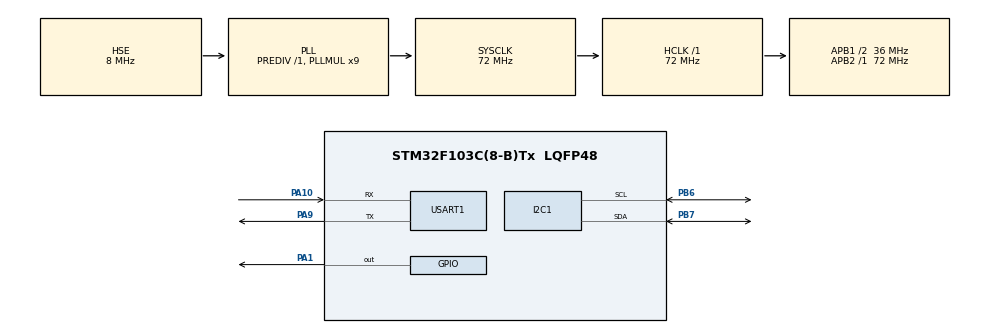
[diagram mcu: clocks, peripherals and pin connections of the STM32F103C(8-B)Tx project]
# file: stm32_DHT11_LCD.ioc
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Mcu.Family=STM32F1
Mcu.Name=STM32F103C(8-B)Tx
Mcu.Package=LQFP48
NVIC.PriorityGroup=NVIC_PRIORITYGROUP_4
PA1.Signal=GPIO_Output
PA10.Mode=Asynchronous
PA10.Signal=USART1_RX
PA13.Mode=Serial_Wire
PA13.Signal=SYS_JTMS-SWDIO
PA14.Mode=Serial_Wire
PA14.Signal=SYS_JTCK-SWCLK
PA9.Mode=Asynchronous
PA9.Signal=USART1_TX
PB6.Mode=I2C
PB6.Signal=I2C1_SCL
PB7.Mode=I2C
PB7.Signal=I2C1_SDA
PD0-OSC_IN.Mode=HSE-External-Oscillator
PD0-OSC_IN.Signal=RCC_OSC_IN
PD1-OSC_OUT.Mode=HSE-External-Oscillator
PD1-OSC_OUT.Signal=RCC_OSC_OUT
ProjectManager.HeapSize=0x200
ProjectManager.StackSize=0x400
ProjectManager.TargetToolchain=MDK-ARM V5.32
RCC.AHBFreq_Value=72000000
RCC.APB1CLKDivider=RCC_HCLK_DIV2
RCC.APB1Freq_Value=36000000
RCC.APB1TimFreq_Value=72000000
RCC.APB2Freq_Value=72000000
RCC.APB2TimFreq_Value=72000000
RCC.HCLKFreq_Value=72000000
RCC.PLLMUL=RCC_PLL_MUL9
RCC.PLLSourceVirtual=RCC_PLLSOURCE_HSE
RCC.SYSCLKFreq_VALUE=72000000
RCC.SYSCLKSource=RCC_SYSCLKSOURCE_PLLCLK
RCC.USBFreq_Value=72000000
TIM4.Period=0xffff-1
TIM4.Prescaler=72-1
USART1.VirtualMode=VM_ASYNC
VP_TIM4_VS_ClockSourceINT.Mode=Internal
board=custom

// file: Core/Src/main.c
/* USER CODE BEGIN Header */
/**
  ******************************************************************************
  * @file           : main.c
  * @brief          : Main program body
  ******************************************************************************
  * @attention
  *
  * Copyright (c) 2024 STMicroelectronics.
  * All rights reserved.
  *
  * This software is licensed under terms that can be found in the LICENSE file
  * in the root directory of this software component.
  * If no LICENSE file comes with this software, it is provided AS-IS.
  *
  ******************************************************************************
  */
/* USER CODE END Header */
#include "main.h"

/* USER CODE BEGIN Includes */
#include "CLCD_I2C.h"
#include "stdio.h"
#include "string.h"
/* USER CODE END Includes */

I2C_HandleTypeDef hi2c1;

TIM_HandleTypeDef htim4;

UART_HandleTypeDef huart1;

void SystemClock_Config(void);
static void MX_GPIO_Init(void);
static void MX_I2C1_Init(void);
static void MX_TIM4_Init(void);
static void MX_USART1_UART_Init(void);

/* USER CODE BEGIN 0 */
#define DHT11_PORT GPIOA
#define DHT11_PIN GPIO_PIN_1
uint8_t  Rh_byte1, Rh_byte2, Temp_byte1, Temp_byte2;
uint16_t SUM, RH, TEMP;

float Temperature = 0;
float Humidity = 0;
uint8_t Presence = 0;

void delay(uint16_t time)
{
	__HAL_TIM_SET_COUNTER(&htim4,0);
	while((__HAL_TIM_GET_COUNTER(&htim4)) < time);
}

void Set_Pin_Output(GPIO_TypeDef *GPIOx, uint16_t GPIO_Pin)
{
	GPIO_InitTypeDef GPIO_InitStruct = {0};
	GPIO_InitStruct.Pin = GPIO_Pin;
	GPIO_InitStruct.Mode = GPIO_MODE_OUTPUT_PP;
	GPIO_InitStruct.Speed = GPIO_SPEED_FREQ_LOW;
	HAL_GPIO_Init(GPIOx, &GPIO_InitStruct);
}

void Set_Pin_Input(GPIO_TypeDef *GPIOx, uint16_t GPIO_Pin)
{
	GPIO_InitTypeDef GPIO_InitStruct = {0};
	GPIO_InitStruct.Pin = GPIO_Pin;
	GPIO_InitStruct.Mode = GPIO_MODE_INPUT;
	GPIO_InitStruct.Pull = GPIO_PULLUP;
	HAL_GPIO_Init(GPIOx, &GPIO_InitStruct);
}

void DHT11_Start(void)
{
	HAL_GPIO_WritePin(GPIOA, GPIO_PIN_1, 1);     //Initialize with Data pin HIGH
  HAL_Delay(1000);
/****************************************************/
  Set_Pin_Output (DHT11_PORT, DHT11_PIN);  // set the pin as output
  HAL_GPIO_WritePin (DHT11_PORT, DHT11_PIN, 0);   // pull the pin low
  HAL_Delay(18);     //wait for 18ms
  HAL_GPIO_WritePin (DHT11_PORT, DHT11_PIN, 1);   // pull the pin high
  delay(20);  //20us
  Set_Pin_Input(DHT11_PORT, DHT11_PIN);    // set as input
}

uint8_t Check_Response(void)
{
	uint8_t Response = 0;
	delay(40);
	if(!(HAL_GPIO_ReadPin(DHT11_PORT,DHT11_PIN)))
	{
		delay(80);
		if((HAL_GPIO_ReadPin(DHT11_PORT,DHT11_PIN))) Response = 1;
		else Response = -1;
	}
	while((HAL_GPIO_ReadPin(DHT11_PORT, DHT11_PIN)));

	return Response;
}

uint8_t DHT11_Read (void)
{
	uint8_t i,j;
	for(j = 0; j < 8; j++)
	{
		while(!(HAL_GPIO_ReadPin(DHT11_PORT,DHT11_PIN)));
		delay(40);
		if(!(HAL_GPIO_ReadPin(DHT11_PORT,DHT11_PIN)))
		{
			i &= ~(1<<(7-j));
		}
		else i |= (1<<(7-j));
		while ((HAL_GPIO_ReadPin(DHT11_PORT,DHT11_PIN)));
	}
	return i;
}

CLCD_I2C_Name LCD1;

void Display_Temp(float Temp)
{
	char str[20] = {0};
	CLCD_I2C_SetCursor(&LCD1,0,0);
	sprintf(str, "%.2f", Temp);
	CLCD_I2C_WriteString(&LCD1,str);
	CLCD_I2C_WriteChar(&LCD1,'C');
}
void Display_Rh (float Rh)
{
	char str[20] = {0};
	CLCD_I2C_SetCursor(&LCD1,0,1);
	sprintf(str, "%.2f", Rh);
	CLCD_I2C_WriteString(&LCD1,str);
	CLCD_I2C_WriteChar(&LCD1,'%');
}
/* USER CODE END 0 */

int main(void)
{
  /* USER CODE BEGIN 1 */
  char data[20];
  /* USER CODE END 1 */

  /* MCU Configuration--------------------------------------------------------*/

  /* Reset of all peripherals, Initializes the Flash interface and the Systick. */
  HAL_Init();

  /* Configure the system clock */
  SystemClock_Config();

  /* Initialize all configured peripherals */
  MX_GPIO_Init();
  MX_I2C1_Init();
  MX_TIM4_Init();
  MX_USART1_UART_Init();
  /* USER CODE BEGIN 2 */
	HAL_TIM_Base_Start(&htim4);
  CLCD_I2C_Init(&LCD1,&hi2c1,0x4e,16,2);
	CLCD_I2C_WriteString(&LCD1,"INITIALIZING>>>");
	HAL_Delay(1000);
	CLCD_I2C_Clear(&LCD1);
  /* USER CODE END 2 */

  /* Infinite loop */
  /* USER CODE BEGIN WHILE */
  while (1)
  {
		Display_Temp(Temperature);
		Display_Rh(Humidity);
		sprintf(data,"%.2f;%.2f",Temperature,Humidity);
		HAL_UART_Transmit(&huart1,(uint8_t*)data,sizeof(data),1000);
		DHT11_Start();

		Presence = Check_Response();
		Rh_byte1 = DHT11_Read();
		Rh_byte2 = DHT11_Read();
		Temp_byte1 = DHT11_Read();
		Temp_byte2 = DHT11_Read();
		SUM = DHT11_Read();

		TEMP = Temp_byte1;
		RH = Rh_byte1;

		Temperature = (float) TEMP;
		Humidity = (float) RH;

		HAL_Delay(1200);
    /* USER CODE END WHILE */

  }
}

void SystemClock_Config(void)
{
  RCC_OscInitTypeDef RCC_OscInitStruct = {0};
  RCC_ClkInitTypeDef RCC_ClkInitStruct = {0};

  /** Initializes the RCC Oscillators according to the specified parameters
  * in the RCC_OscInitTypeDef structure.
  */
  RCC_OscInitStruct.OscillatorType = RCC_OSCILLATORTYPE_HSE;
  RCC_OscInitStruct.HSEState = RCC_HSE_ON;
  RCC_OscInitStruct.HSEPredivValue = RCC_HSE_PREDIV_DIV1;
  RCC_OscInitStruct.HSIState = RCC_HSI_ON;
  RCC_OscInitStruct.PLL.PLLState = RCC_PLL_ON;
  RCC_OscInitStruct.PLL.PLLSource = RCC_PLLSOURCE_HSE;
  RCC_OscInitStruct.PLL.PLLMUL = RCC_PLL_MUL9;
  if (HAL_RCC_OscConfig(&RCC_OscInitStruct) != HAL_OK)
  {
    Error_Handler();
  }

  /** Initializes the CPU, AHB and APB buses clocks
  */
  RCC_ClkInitStruct.ClockType = RCC_CLOCKTYPE_HCLK|RCC_CLOCKTYPE_SYSCLK
                              |RCC_CLOCKTYPE_PCLK1|RCC_CLOCKTYPE_PCLK2;
  RCC_ClkInitStruct.SYSCLKSource = RCC_SYSCLKSOURCE_PLLCLK;
  RCC_ClkInitStruct.AHBCLKDivider = RCC_SYSCLK_DIV1;
  RCC_ClkInitStruct.APB1CLKDivider = RCC_HCLK_DIV2;
  RCC_ClkInitStruct.APB2CLKDivider = RCC_HCLK_DIV1;

  if (HAL_RCC_ClockConfig(&RCC_ClkInitStruct, FLASH_LATENCY_2) != HAL_OK)
  {
    Error_Handler();
  }
}

static void MX_I2C1_Init(void)
{

  hi2c1.Instance = I2C1;
  hi2c1.Init.ClockSpeed = 100000;
  hi2c1.Init.DutyCycle = I2C_DUTYCYCLE_2;
  hi2c1.Init.OwnAddress1 = 0;
  hi2c1.Init.AddressingMode = I2C_ADDRESSINGMODE_7BIT;
  hi2c1.Init.DualAddressMode = I2C_DUALADDRESS_DISABLE;
  hi2c1.Init.OwnAddress2 = 0;
  hi2c1.Init.GeneralCallMode = I2C_GENERALCALL_DISABLE;
  hi2c1.Init.NoStretchMode = I2C_NOSTRETCH_DISABLE;
  if (HAL_I2C_Init(&hi2c1) != HAL_OK)
  {
    Error_Handler();
  }

}

static void MX_TIM4_Init(void)
{

  TIM_ClockConfigTypeDef sClockSourceConfig = {0};
  TIM_MasterConfigTypeDef sMasterConfig = {0};

  htim4.Instance = TIM4;
  htim4.Init.Prescaler = 72-1;
  htim4.Init.CounterMode = TIM_COUNTERMODE_UP;
  htim4.Init.Period = 0xffff-1;
  htim4.Init.ClockDivision = TIM_CLOCKDIVISION_DIV1;
  htim4.Init.AutoReloadPreload = TIM_AUTORELOAD_PRELOAD_DISABLE;
  if (HAL_TIM_Base_Init(&htim4) != HAL_OK)
  {
    Error_Handler();
  }
  sClockSourceConfig.ClockSource = TIM_CLOCKSOURCE_INTERNAL;
  if (HAL_TIM_ConfigClockSource(&htim4, &sClockSourceConfig) != HAL_OK)
  {
    Error_Handler();
  }
  sMasterConfig.MasterOutputTrigger = TIM_TRGO_RESET;
  sMasterConfig.MasterSlaveMode = TIM_MASTERSLAVEMODE_DISABLE;
  if (HAL_TIMEx_MasterConfigSynchronization(&htim4, &sMasterConfig) != HAL_OK)
  {
    Error_Handler();
  }

}

static void MX_USART1_UART_Init(void)
{

  huart1.Instance = USART1;
  huart1.Init.BaudRate = 115200;
  huart1.Init.WordLength = UART_WORDLENGTH_8B;
  huart1.Init.StopBits = UART_STOPBITS_1;
  huart1.Init.Parity = UART_PARITY_NONE;
  huart1.Init.Mode = UART_MODE_TX_RX;
  huart1.Init.HwFlowCtl = UART_HWCONTROL_NONE;
  huart1.Init.OverSampling = UART_OVERSAMPLING_16;
  if (HAL_UART_Init(&huart1) != HAL_OK)
  {
    Error_Handler();
  }

}

static void MX_GPIO_Init(void)
{
  GPIO_InitTypeDef GPIO_InitStruct = {0};

  /* GPIO Ports Clock Enable */
  __HAL_RCC_GPIOD_CLK_ENABLE();
  __HAL_RCC_GPIOA_CLK_ENABLE();
  __HAL_RCC_GPIOB_CLK_ENABLE();

  /*Configure GPIO pin Output Level */
  HAL_GPIO_WritePin(GPIOA, GPIO_PIN_1, GPIO_PIN_RESET);

  /*Configure GPIO pin : PA1 */
  GPIO_InitStruct.Pin = GPIO_PIN_1;
  GPIO_InitStruct.Mode = GPIO_MODE_OUTPUT_PP;
  GPIO_InitStruct.Pull = GPIO_NOPULL;
  GPIO_InitStruct.Speed = GPIO_SPEED_FREQ_LOW;
  HAL_GPIO_Init(GPIOA, &GPIO_InitStruct);

}

void Error_Handler(void)
{
  __disable_irq();
  while (1)
  {
  }
}
